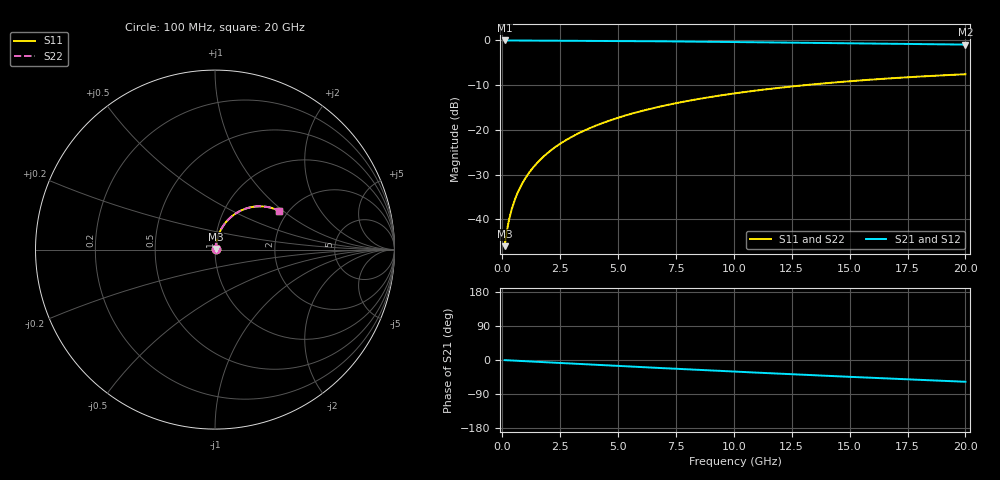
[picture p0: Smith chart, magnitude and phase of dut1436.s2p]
! Touchstone file exported from HFSS 2026.1.0
!  File:  C:/ffzhzh/LocalFiles/Ansys_Project_Files/temp_train_TMRDL_1436_1783166953_43440.aedt
!  Generated:  08:10:38 PM Jul  4, 2026
!  Design:  TMRDL
!  Project:  temp_train_TMRDL_1436_1783166953_43440
! Variables:
!  h_bsmrdl = 2um
!  h_ox = 20um
!  h_rdl = 5um
!  h_sub = 80um
!  h_tmrdl = 3.17um
!  h_tsv = 80um
!  h_via = 3um
!  l_bsmrdl = 300um
!  l_sub = 1313.57um
!  l_tmrdl = 913.57um
!  m_sub = 200um
!  pitch = 51.86um
!  r_tsv = 6um
!  s_tmrdl = 10um
!  w_bsmrdl = 18um
!  w_sub = 500um
!  w_tmrdl = 28.35um
!  x_tsv_center1 = 927.745um
!  x_tsv_center2 = 1245.745um
!  x_tsv_center3 = 2187.665um
!  x_tsv_center4 = 2505.665um
!  x_tsv_center5 = 3447.585um
!  x_tsv_center6 = 3765.585um
# GHz S MA R 50.000000
! Terminal data exported
! Port[1] = TM_RDL1_1_T1
! Port[2] = TM_RDL1_1_T2
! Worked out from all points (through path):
!   200 points, 100 MHz to 20 GHz, reference 50 ohm
!   highest |S21| = -0.03 dB at 100 MHz (marker M1); lowest = -1.0 dB at 20 GHz (marker M2)
!   group delay of S21, straight-line fit = 7.98 ps
!   lowest |S11| = -46.0 dB at 100 MHz (marker M3), VSWR 1.01, Z = 50.4 + j0.321 ohm
!   |S11| at or under -10 dB: start of sweep to 13.1 GHz
!   |S22| runs from -46.0 to -7.6 dB; largest |S21 - S12| = 3.1e-15
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0.1  0.005022 39.4  0.9961 -0.3  0.9961 -0.3  0.005022 39.4
! Gamma 0 0 0 0
! Port Impedance 50 0 50 0
0.2  0.007502 55.9  0.9959 -0.7  0.9959 -0.7  0.007502 55.9
0.3  0.01016 63.3  0.9956 -1.0  0.9956 -1.0  0.01016 63.3
0.4  0.01281 67.5  0.9953 -1.3  0.9953 -1.3  0.01281 67.5
0.5  0.01547 70.3  0.9951 -1.6  0.9951 -1.6  0.01547 70.3
0.6  0.01813 72.4  0.9949 -1.9  0.9949 -1.9  0.01813 72.4
0.8  0.02349 75.0  0.9947 -2.6  0.9947 -2.6  0.02349 75.0
1.1  0.03163 77.0  0.9943 -3.5  0.9943 -3.5  0.03163 77.0
1.3  0.03709 77.7  0.994 -4.1  0.994 -4.1  0.03709 77.7
1.6  0.04531 78.1  0.9936 -5.1  0.9936 -5.1  0.04531 78.1
2.1  0.05902 77.9  0.9927 -6.6  0.9927 -6.6  0.05902 77.9
2.7  0.07539 77.0  0.9913 -8.5  0.9913 -8.5  0.07539 77.0
3.5  0.09699 75.3  0.989 -11.0  0.989 -11.0  0.097 75.3
4.2  0.1156 73.5  0.9866 -13.2  0.9866 -13.2  0.1156 73.5
5  0.1365 71.3  0.9834 -15.6  0.9834 -15.6  0.1365 71.4
5.9  0.1594 68.8  0.9794 -18.4  0.9794 -18.4  0.1594 68.9
6.8  0.1816 66.3  0.975 -21.1  0.975 -21.1  0.1817 66.3
8.3  0.2171 62.0  0.9668 -25.5  0.9668 -25.5  0.2172 62.0
10.1  0.257 57.0  0.9562 -30.8  0.9562 -30.8  0.257 57.0
13.4  0.3216 47.9  0.9353 -40.0  0.9353 -40.0  0.3217 48.0
16.7  0.3753 39.3  0.9146 -48.9  0.9146 -48.9  0.3754 39.3
20  0.418 31.0  0.8958 -57.4  0.8958 -57.4  0.4181 31.0
